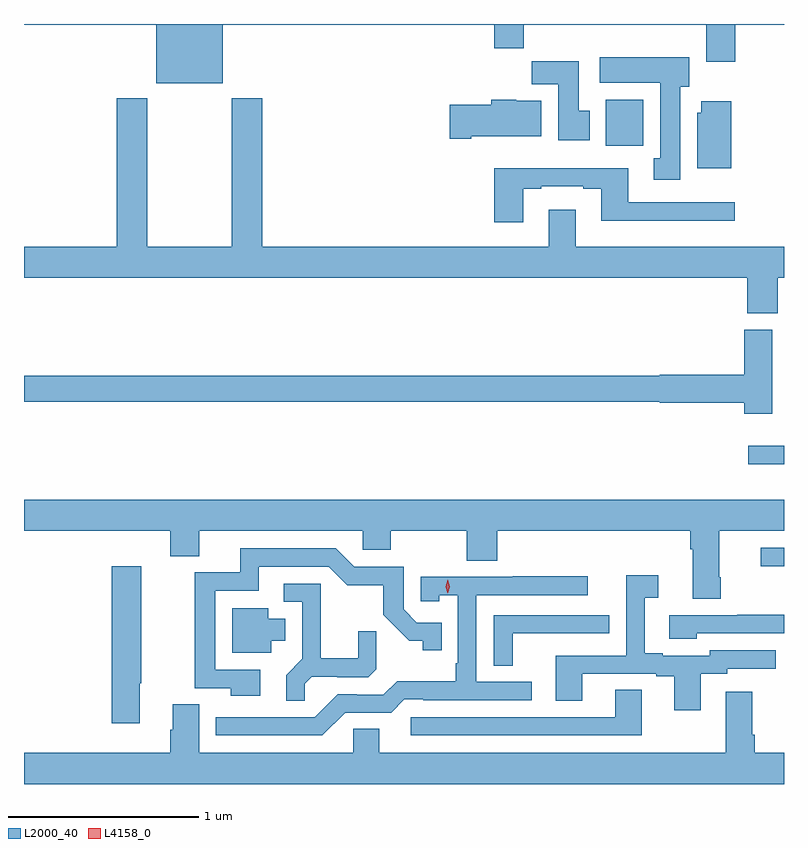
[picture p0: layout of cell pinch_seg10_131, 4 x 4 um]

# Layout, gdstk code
import gdstk
lib = gdstk.Library(unit=1e-6, precision=1e-09)
def R(c, l, rs):  # rectangles x0, y0, x1, y1
    for r in rs: c.add(gdstk.rectangle(r[:2], r[2:], *l))
def P(c, l, *ps):  # polygons
    for p in ps: c.add(gdstk.Polygon(p, *l))
L2000_40 = (2000, 40)
L4158_0 = (4158, 0)

pinch_seg10_131 = lib.new_cell('pinch_seg10_131')
R(pinch_seg10_131, L2000_40, [(709.113,1274.823,709.236,1274.919), (709.047,1275.36,709.236,1275.456), (708.299,1277.036,708.496,1277.278)])
P(pinch_seg10_131, L2000_40, [(706.282,1277.672),(707.711,1277.672),(707.711,1277.548),(707.867,1277.548),(707.867,1277.672),(708.827,1277.672),(708.827,1277.478),(708.98,1277.478),(708.98,1277.672),(709.236,1277.672),(709.236,1277.676),(705.236,1277.676),(705.236,1277.672),(705.932,1277.672),(705.932,1277.363),(706.282,1277.363)],
  [(708.691,1277.346),(708.736,1277.346),(708.736,1277.5),(708.267,1277.5),(708.267,1277.366),(708.584,1277.366),(708.584,1276.97),(708.551,1276.97),(708.551,1276.857),(708.691,1276.857)],
  [(708.214,1277.22),(708.157,1277.22),(708.157,1277.479),(707.908,1277.479),(707.908,1277.36),(708.047,1277.36),(708.047,1277.064),(708.214,1277.064)],
  [(709.203,1276.34),(709.236,1276.34),(709.236,1276.504),(708.139,1276.504),(708.139,1276.699),(707.999,1276.699),(707.999,1276.504),(706.49,1276.504),(706.49,1277.284),(706.33,1277.284),(706.33,1276.504),(705.885,1276.504),(705.885,1277.284),(705.725,1277.284),(705.725,1276.504),(705.236,1276.504),(705.236,1276.34),(709.043,1276.34),(709.043,1276.153),(709.203,1276.153)],
  [(707.59,1277.084),(707.959,1277.084),(707.959,1277.272),(707.826,1277.272),(707.826,1277.278),(707.696,1277.278),(707.696,1277.25),(707.478,1277.25),(707.478,1277.072),(707.59,1277.072)],
  [(708.958,1277.269),(708.8,1277.269),(708.8,1277.208),(708.779,1277.208),(708.779,1276.916),(708.958,1276.916)],
  [(707.863,1276.809),(707.959,1276.809),(707.959,1276.821),(708.179,1276.821),(708.179,1276.809),(708.275,1276.809),(708.275,1276.64),(708.976,1276.64),(708.976,1276.737),(708.415,1276.737),(708.415,1276.918),(707.711,1276.918),(707.711,1276.632),(707.863,1276.632)],
  [(709.174,1276.068),(709.028,1276.068),(709.028,1275.83),(708.582,1275.83),(708.582,1275.824),(705.236,1275.824),(705.236,1275.688),(708.582,1275.688),(708.582,1275.683),(709.028,1275.683),(709.028,1275.624),(709.174,1275.624)],
  [(705.236,1275.008),(706.007,1275.008),(706.007,1274.875),(706.159,1274.875),(706.159,1275.008),(707.019,1275.008),(707.019,1274.91),(707.166,1274.91),(707.166,1275.008),(707.566,1275.008),(707.566,1274.851),(707.726,1274.851),(707.726,1275.008),(708.743,1275.008),(708.743,1274.912),(708.755,1274.912),(708.755,1274.652),(708.903,1274.652),(708.903,1274.764),(708.895,1274.764),(708.895,1275.008),(709.236,1275.008),(709.236,1275.172),(705.236,1275.172)],
  [(706.48,1274.277),(706.242,1274.277),(706.242,1274.694),(706.471,1274.694),(706.471,1274.82),(706.839,1274.82),(706.938,1274.722),(707.127,1274.722),(707.127,1274.566),(707.264,1274.429),(707.334,1274.429),(707.334,1274.379),(707.435,1274.379),(707.435,1274.526),(707.304,1274.526),(707.235,1274.595),(707.235,1274.82),(706.974,1274.82),(706.878,1274.916),(706.373,1274.916),(706.373,1274.79),(706.134,1274.79),(706.134,1274.181),(706.324,1274.181),(706.324,1274.141),(706.48,1274.141)],
  [(705.844,1274.207),(705.852,1274.207),(705.852,1274.821),(705.698,1274.821),(705.698,1273.995),(705.844,1273.995)],
  [(708.799,1274.256),(708.936,1274.256),(708.936,1274.283),(709.192,1274.283),(709.192,1274.379),(708.846,1274.379),(708.846,1274.352),(708.598,1274.352),(708.598,1274.365),(708.502,1274.365),(708.502,1274.656),(708.574,1274.656),(708.574,1274.776),(708.405,1274.776),(708.405,1274.352),(708.035,1274.352),(708.035,1274.113),(708.175,1274.113),(708.175,1274.256),(708.563,1274.256),(708.563,1274.244),(708.659,1274.244),(708.659,1274.064),(708.799,1274.064)],
  [(706.926,1274.052),(707.169,1274.052),(707.238,1274.121),(707.338,1274.121),(707.338,1274.118),(707.908,1274.118),(707.908,1274.214),(707.616,1274.214),(707.616,1274.67),(708.202,1274.67),(708.202,1274.769),(707.809,1274.769),(707.809,1274.766),(707.325,1274.766),(707.325,1274.637),(707.421,1274.637),(707.421,1274.669),(707.52,1274.669),(707.52,1274.311),(707.508,1274.311),(707.508,1274.218),(707.2,1274.218),(707.127,1274.145),(706.988,1274.145),(706.988,1274.148),(706.887,1274.148),(706.767,1274.028),(706.244,1274.028),(706.244,1273.932),(706.806,1273.932)],
  [(706.713,1274.204),(706.75,1274.241),(706.884,1274.241),(706.884,1274.238),(707.049,1274.238),(707.09,1274.279),(707.09,1274.481),(706.996,1274.481),(706.996,1274.338),(706.799,1274.338),(706.799,1274.73),(706.602,1274.73),(706.602,1274.634),(706.701,1274.634),(706.701,1274.335),(706.615,1274.249),(706.615,1274.113),(706.713,1274.113)],
  [(706.537,1274.429),(706.612,1274.429),(706.612,1274.545),(706.522,1274.545),(706.522,1274.602),(706.331,1274.602),(706.331,1274.366),(706.537,1274.366)],
  [(708.777,1274.469),(709.236,1274.469),(709.236,1274.568),(708.991,1274.568),(708.991,1274.565),(708.633,1274.565),(708.633,1274.441),(708.777,1274.441)],
  [(707.808,1274.469),(708.203,1274.469),(708.203,1274.47),(708.316,1274.47),(708.316,1274.565),(707.709,1274.565),(707.709,1274.299),(707.808,1274.299)],
  [(708.487,1274.171),(708.347,1274.171),(708.347,1274.028),(707.271,1274.028),(707.271,1273.932),(708.487,1273.932)],
  [(709.236,1273.84),(709.082,1273.84),(709.082,1273.936),(709.069,1273.936),(709.069,1274.161),(708.929,1274.161),(708.929,1273.84),(707.107,1273.84),(707.107,1273.967),(706.968,1273.967),(706.968,1273.84),(706.159,1273.84),(706.159,1274.096),(706.019,1274.096),(706.019,1273.962),(706.007,1273.962),(706.007,1273.84),(705.236,1273.84),(705.236,1273.676),(709.236,1273.676)])
P(pinch_seg10_131, L4158_0, [(707.466,1274.679),(707.466,1274.679),(707.456,1274.715),(707.466,1274.751),(707.466,1274.751),(707.466,1274.751),(707.476,1274.715),(707.466,1274.679)])

lib.write_gds('pinch_seg10_131.gds')
